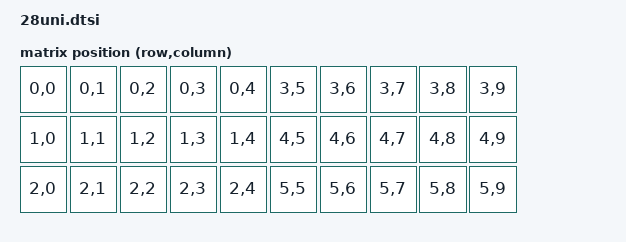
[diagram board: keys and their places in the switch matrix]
/*
 * Copyright (c) 2020 Pete Johanson
 *
 * SPDX-License-Identifier: MIT
 */

#include <dt-bindings/zmk/matrix_transform.h>

/ {
    chosen {
        zmk,kscan = &kscan0;
        zmk,matrix_transform = &default_transform;
    };

    default_transform: keymap_transform_0 {
        compatible = "zmk,matrix-transform";
        columns = <10>;
        rows = <6>;
// | SW1  | SW2  | SW3  | SW4  | SW5  | SW16 | SW17 | SW18 | SW19 | SW20 |
// | SW6  | SW7  | SW8  | SW9  | SW10 | SW21 | SW22 | SW23 | SW24 | SW25 |
// | SW11 | SW12 | SW13 | SW14 | SW15 | SW26 | SW27 | SW28 | SW29 | SW30 |
        map = <
RC(0,0) RC(0,1) RC(0,2) RC(0,3) RC(0,4) RC(3,5) RC(3,6) RC(3,7) RC(3,8) RC(3,9)
RC(1,0) RC(1,1) RC(1,2) RC(1,3) RC(1,4) RC(4,5) RC(4,6) RC(4,7) RC(4,8) RC(4,9)
RC(2,0) RC(2,1) RC(2,2) RC(2,3) RC(2,4) RC(5,5) RC(5,6) RC(5,7) RC(5,8) RC(5,9)
        >;
    };
